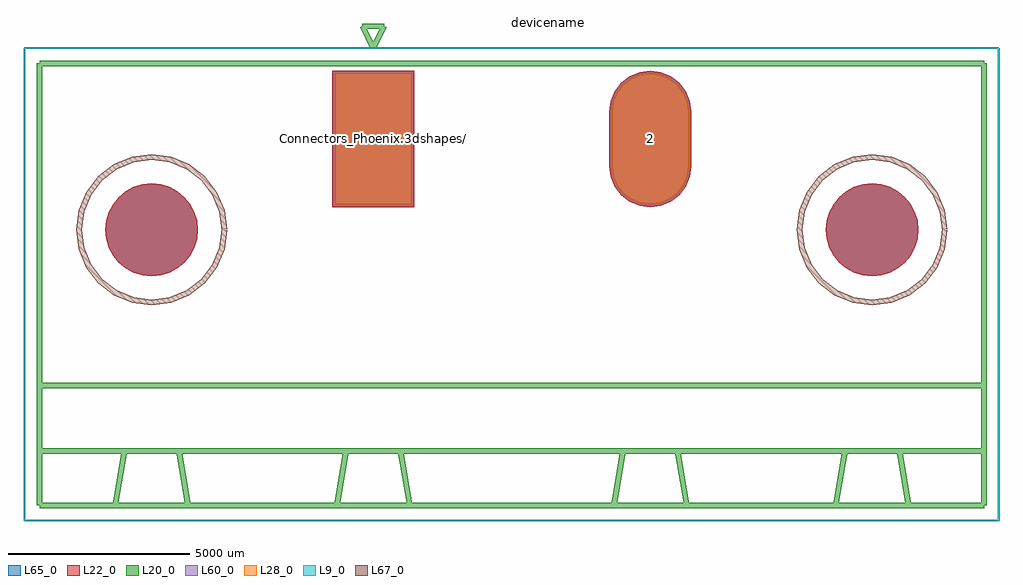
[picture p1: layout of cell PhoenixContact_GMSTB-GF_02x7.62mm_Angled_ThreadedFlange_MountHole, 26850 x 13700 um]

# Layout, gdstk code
import gdstk
lib = gdstk.Library(unit=1e-6, precision=1e-09)
def R(c, l, rs):  # rectangles x0, y0, x1, y1
    for r in rs: c.add(gdstk.rectangle(r[:2], r[2:], *l))
def P(c, l, *ps):  # polygons
    for p in ps: c.add(gdstk.Polygon(p, *l))
L9_0 = (9, 0)
L20_0 = (20, 0)
L22_0 = (22, 0)
L28_0 = (28, 0)
L60_0 = (60, 0)
L65_0 = (65, 0)
L67_0 = (67, 0)

phoenixcontact_gmstb_gf_ = lib.new_cell('PhoenixContact_GMSTB-GF_02x7.62mm_Angled_ThreadedFlange_MountHole')
R(phoenixcontact_gmstb_gf_, L22_0, [(-1125,-1875,1125,1875)])
P(phoenixcontact_gmstb_gf_, L22_0, [(14995,-2500),(14970.501,-2251.26),(14897.946,-2012.079),(14780.124,-1791.648),(14621.561,-1598.439),(14428.352,-1439.876),(14207.921,-1322.054),(13968.74,-1249.499),(13720,-1225),(13471.26,-1249.499),(13232.079,-1322.054),(13011.648,-1439.876),(12818.439,-1598.439),(12659.876,-1791.648),(12542.054,-2012.079),(12469.499,-2251.26),(12445,-2500),(12469.499,-2748.74),(12542.054,-2987.921),(12659.876,-3208.352),(12818.439,-3401.561),(13011.648,-3560.124),(13232.079,-3677.946),(13471.26,-3750.501),(13720,-3775),(13968.74,-3750.501),(14207.921,-3677.946),(14428.352,-3560.124),(14621.561,-3401.561),(14780.124,-3208.352),(14897.946,-2987.921),(14970.501,-2748.74)],
  [(-4825,-2500),(-4849.499,-2251.26),(-4922.054,-2012.079),(-5039.876,-1791.648),(-5198.439,-1598.439),(-5391.648,-1439.876),(-5612.079,-1322.054),(-5851.26,-1249.499),(-6100,-1225),(-6348.74,-1249.499),(-6587.921,-1322.054),(-6808.352,-1439.876),(-7001.561,-1598.439),(-7160.124,-1791.648),(-7277.946,-2012.079),(-7350.501,-2251.26),(-7375,-2500),(-7350.501,-2748.74),(-7277.946,-2987.921),(-7160.124,-3208.352),(-7001.561,-3401.561),(-6808.352,-3560.124),(-6587.921,-3677.946),(-6348.74,-3750.501),(-6100,-3775),(-5851.26,-3750.501),(-5612.079,-3677.946),(-5391.648,-3560.124),(-5198.439,-3401.561),(-5039.876,-3208.352),(-4922.054,-2987.921),(-4849.499,-2748.74)],
  [(7620,-1875),(7911.171,-1836.667),(8182.5,-1724.279),(8415.495,-1545.495),(8594.279,-1312.5),(8706.667,-1041.171),(8745,-750),(8745,750),(8706.667,1041.171),(8594.279,1312.5),(8415.495,1545.495),(8182.5,1724.279),(7911.171,1836.667),(7620,1875),(7328.829,1836.667),(7057.5,1724.279),(6824.505,1545.495),(6645.721,1312.5),(6533.333,1041.171),(6495,750),(6495,-750),(6533.333,-1041.171),(6645.721,-1312.5),(6824.505,-1545.495),(7057.5,-1724.279),(7328.829,-1836.667)])
R(phoenixcontact_gmstb_gf_, L28_0, [(-1050,-1800,1050,1800)])
P(phoenixcontact_gmstb_gf_, L28_0, [(7620,-1800),(7891.76,-1764.222),(8145,-1659.327),(8362.462,-1492.462),(8529.327,-1275),(8634.222,-1021.76),(8670,-750),(8670,750),(8634.222,1021.76),(8529.327,1275),(8362.462,1492.462),(8145,1659.327),(7891.76,1764.222),(7620,1800),(7348.24,1764.222),(7095,1659.327),(6877.538,1492.462),(6710.673,1275),(6605.778,1021.76),(6570,750),(6570,-750),(6605.778,-1021.76),(6710.673,-1275),(6877.538,-1492.462),(7095,-1659.327),(7348.24,-1764.222)])
R(phoenixcontact_gmstb_gf_, L60_0, [(-1050,-1800,1050,1800)])
P(phoenixcontact_gmstb_gf_, L60_0, [(7620,-1800),(7891.76,-1764.222),(8145,-1659.327),(8362.462,-1492.462),(8529.327,-1275),(8634.222,-1021.76),(8670,-750),(8670,750),(8634.222,1021.76),(8529.327,1275),(8362.462,1492.462),(8145,1659.327),(7891.76,1764.222),(7620,1800),(7348.24,1764.222),(7095,1659.327),(6877.538,1492.462),(6710.673,1275),(6605.778,1021.76),(6570,750),(6570,-750),(6605.778,-1021.76),(6710.673,-1275),(6877.538,-1492.462),(7095,-1659.327),(7348.24,-1764.222)])
R(phoenixcontact_gmstb_gf_, L65_0, [(-1125,-1875,1125,1875)])
P(phoenixcontact_gmstb_gf_, L65_0, [(14995,-2500),(14970.501,-2251.26),(14897.946,-2012.079),(14780.124,-1791.648),(14621.561,-1598.439),(14428.352,-1439.876),(14207.921,-1322.054),(13968.74,-1249.499),(13720,-1225),(13471.26,-1249.499),(13232.079,-1322.054),(13011.648,-1439.876),(12818.439,-1598.439),(12659.876,-1791.648),(12542.054,-2012.079),(12469.499,-2251.26),(12445,-2500),(12469.499,-2748.74),(12542.054,-2987.921),(12659.876,-3208.352),(12818.439,-3401.561),(13011.648,-3560.124),(13232.079,-3677.946),(13471.26,-3750.501),(13720,-3775),(13968.74,-3750.501),(14207.921,-3677.946),(14428.352,-3560.124),(14621.561,-3401.561),(14780.124,-3208.352),(14897.946,-2987.921),(14970.501,-2748.74)],
  [(-4825,-2500),(-4849.499,-2251.26),(-4922.054,-2012.079),(-5039.876,-1791.648),(-5198.439,-1598.439),(-5391.648,-1439.876),(-5612.079,-1322.054),(-5851.26,-1249.499),(-6100,-1225),(-6348.74,-1249.499),(-6587.921,-1322.054),(-6808.352,-1439.876),(-7001.561,-1598.439),(-7160.124,-1791.648),(-7277.946,-2012.079),(-7350.501,-2251.26),(-7375,-2500),(-7350.501,-2748.74),(-7277.946,-2987.921),(-7160.124,-3208.352),(-7001.561,-3401.561),(-6808.352,-3560.124),(-6587.921,-3677.946),(-6348.74,-3750.501),(-6100,-3775),(-5851.26,-3750.501),(-5612.079,-3677.946),(-5391.648,-3560.124),(-5198.439,-3401.561),(-5039.876,-3208.352),(-4922.054,-2987.921),(-4849.499,-2748.74)],
  [(7620,-1875),(7911.171,-1836.667),(8182.5,-1724.279),(8415.495,-1545.495),(8594.279,-1312.5),(8706.667,-1041.171),(8745,-750),(8745,750),(8706.667,1041.171),(8594.279,1312.5),(8415.495,1545.495),(8182.5,1724.279),(7911.171,1836.667),(7620,1875),(7328.829,1836.667),(7057.5,1724.279),(6824.505,1545.495),(6645.721,1312.5),(6533.333,1041.171),(6495,750),(6495,-750),(6533.333,-1041.171),(6645.721,-1312.5),(6824.505,-1545.495),(7057.5,-1724.279),(7328.829,-1836.667)])
phoenixcontact_gmstb_gf_.add(gdstk.FlexPath([(-300,3100),(0,2500)], 149.998, ends="flush", simple_path=True, layer=20, datatype=0))  # L20_0
phoenixcontact_gmstb_gf_.add(gdstk.FlexPath([(300,3100),(-300,3100)], 149.998, ends="flush", simple_path=True, layer=20, datatype=0))  # L20_0
phoenixcontact_gmstb_gf_.add(gdstk.FlexPath([(0,2500),(300,3100)], 149.998, ends="flush", simple_path=True, layer=20, datatype=0))  # L20_0
phoenixcontact_gmstb_gf_.add(gdstk.FlexPath([(17200,2500),(-9600,2500)], 50, ends="flush", simple_path=True, layer=9, datatype=0))  # L9_0
phoenixcontact_gmstb_gf_.add(gdstk.FlexPath([(17200,-10500),(17200,2500)], 50, ends="flush", simple_path=True, layer=9, datatype=0))  # L9_0
phoenixcontact_gmstb_gf_.add(gdstk.FlexPath([(-9600,-10500),(17200,-10500)], 50, ends="flush", simple_path=True, layer=9, datatype=0))  # L9_0
phoenixcontact_gmstb_gf_.add(gdstk.FlexPath([(-9600,2500),(-9600,-10500)], 50, ends="flush", simple_path=True, layer=9, datatype=0))  # L9_0
phoenixcontact_gmstb_gf_.add(gdstk.FlexPath([(6870,-8580),(6620,-10080)], 149.998, ends="flush", simple_path=True, layer=20, datatype=0))  # L20_0
phoenixcontact_gmstb_gf_.add(gdstk.FlexPath([(8370,-8580),(6870,-8580)], 149.998, ends="flush", simple_path=True, layer=20, datatype=0))  # L20_0
phoenixcontact_gmstb_gf_.add(gdstk.FlexPath([(8620,-10080),(8370,-8580)], 149.998, ends="flush", simple_path=True, layer=20, datatype=0))  # L20_0
phoenixcontact_gmstb_gf_.add(gdstk.FlexPath([(6620,-10080),(8620,-10080)], 149.998, ends="flush", simple_path=True, layer=20, datatype=0))  # L20_0
phoenixcontact_gmstb_gf_.add(gdstk.FlexPath([(-750,-8580),(-1000,-10080)], 149.998, ends="flush", simple_path=True, layer=20, datatype=0))  # L20_0
phoenixcontact_gmstb_gf_.add(gdstk.FlexPath([(750,-8580),(-750,-8580)], 149.998, ends="flush", simple_path=True, layer=20, datatype=0))  # L20_0
phoenixcontact_gmstb_gf_.add(gdstk.FlexPath([(1000,-10080),(750,-8580)], 149.998, ends="flush", simple_path=True, layer=20, datatype=0))  # L20_0
phoenixcontact_gmstb_gf_.add(gdstk.FlexPath([(-1000,-10080),(1000,-10080)], 149.998, ends="flush", simple_path=True, layer=20, datatype=0))  # L20_0
phoenixcontact_gmstb_gf_.add(gdstk.FlexPath([(12970,-8580),(12720,-10080)], 149.998, ends="flush", simple_path=True, layer=20, datatype=0))  # L20_0
phoenixcontact_gmstb_gf_.add(gdstk.FlexPath([(14470,-8580),(12970,-8580)], 149.998, ends="flush", simple_path=True, layer=20, datatype=0))  # L20_0
phoenixcontact_gmstb_gf_.add(gdstk.FlexPath([(14720,-10080),(14470,-8580)], 149.998, ends="flush", simple_path=True, layer=20, datatype=0))  # L20_0
phoenixcontact_gmstb_gf_.add(gdstk.FlexPath([(12720,-10080),(14720,-10080)], 149.998, ends="flush", simple_path=True, layer=20, datatype=0))  # L20_0
phoenixcontact_gmstb_gf_.add(gdstk.FlexPath([(-6850,-8580),(-7100,-10080)], 149.998, ends="flush", simple_path=True, layer=20, datatype=0))  # L20_0
phoenixcontact_gmstb_gf_.add(gdstk.FlexPath([(-5350,-8580),(-6850,-8580)], 149.998, ends="flush", simple_path=True, layer=20, datatype=0))  # L20_0
phoenixcontact_gmstb_gf_.add(gdstk.FlexPath([(-5100,-10080),(-5350,-8580)], 149.998, ends="flush", simple_path=True, layer=20, datatype=0))  # L20_0
phoenixcontact_gmstb_gf_.add(gdstk.FlexPath([(-7100,-10080),(-5100,-10080)], 149.998, ends="flush", simple_path=True, layer=20, datatype=0))  # L20_0
phoenixcontact_gmstb_gf_.add(gdstk.FlexPath([(16800,-8580),(-9180,-8580)], 149.998, ends="flush", simple_path=True, layer=20, datatype=0))  # L20_0
phoenixcontact_gmstb_gf_.add(gdstk.FlexPath([(16800,-6780),(16800,-8580)], 149.998, ends="flush", simple_path=True, layer=20, datatype=0))  # L20_0
phoenixcontact_gmstb_gf_.add(gdstk.FlexPath([(-9180,-6780),(16800,-6780)], 149.998, ends="flush", simple_path=True, layer=20, datatype=0))  # L20_0
phoenixcontact_gmstb_gf_.add(gdstk.FlexPath([(-9180,-8580),(-9180,-6780)], 149.998, ends="flush", simple_path=True, layer=20, datatype=0))  # L20_0
phoenixcontact_gmstb_gf_.add(gdstk.FlexPath([(16800,2080),(-9180,2080)], 149.998, ends="flush", simple_path=True, layer=20, datatype=0))  # L20_0
phoenixcontact_gmstb_gf_.add(gdstk.FlexPath([(16800,-10080),(16800,2080)], 149.998, ends="flush", simple_path=True, layer=20, datatype=0))  # L20_0
phoenixcontact_gmstb_gf_.add(gdstk.FlexPath([(-9180,-10080),(16800,-10080)], 149.998, ends="flush", simple_path=True, layer=20, datatype=0))  # L20_0
phoenixcontact_gmstb_gf_.add(gdstk.FlexPath([(-9180,2080),(-9180,-10080)], 149.998, ends="flush", simple_path=True, layer=20, datatype=0))  # L20_0
phoenixcontact_gmstb_gf_.add(gdstk.FlexPath([(15720,-2500),(15651.852,-1982.362),(15452.051,-1500),(15134.214,-1085.786),(14720,-767.949),(14237.638,-568.148),(13720,-500),(13202.362,-568.148),(12720,-767.949),(12305.786,-1085.786),(11987.949,-1500),(11788.148,-1982.362),(11720,-2500),(11788.148,-3017.638),(11987.949,-3500),(12305.786,-3914.214),(12720,-4232.051),(13202.362,-4431.852),(13720,-4500),(14237.638,-4431.852),(14720,-4232.051),(15134.214,-3914.214),(15452.051,-3500),(15651.852,-3017.638),(15720,-2500)], 149.998, ends="flush", simple_path=True, layer=67, datatype=0))  # L67_0
phoenixcontact_gmstb_gf_.add(gdstk.FlexPath([(-4100,-2500),(-4168.148,-1982.362),(-4367.949,-1500),(-4685.786,-1085.786),(-5100,-767.949),(-5582.362,-568.148),(-6100,-500),(-6617.638,-568.148),(-7100,-767.949),(-7514.214,-1085.786),(-7832.051,-1500),(-8031.852,-1982.362),(-8100,-2500),(-8031.852,-3017.638),(-7832.051,-3500),(-7514.214,-3914.214),(-7100,-4232.051),(-6617.638,-4431.852),(-6100,-4500),(-5582.362,-4431.852),(-5100,-4232.051),(-4685.786,-3914.214),(-4367.949,-3500),(-4168.148,-3017.638),(-4100,-2500)], 149.998, ends="flush", simple_path=True, layer=67, datatype=0))  # L67_0
phoenixcontact_gmstb_gf_.add(gdstk.Label('Connectors_Phoenix.3dshapes/PhoenixContact_GMSTB-GF_02x7.62mm_Angled_ThreadedFlange_MountHole.wrl', (0,0), layer=12, texttype=0))
phoenixcontact_gmstb_gf_.add(gdstk.Label('2', (7620,0), layer=28, texttype=0))
phoenixcontact_gmstb_gf_.add(gdstk.Label('1', (0,0), layer=28, texttype=0))
phoenixcontact_gmstb_gf_.add(gdstk.Label('type', (3810,-11500), layer=9, texttype=0))
phoenixcontact_gmstb_gf_.add(gdstk.Label('devicename', (4810,3200), layer=9, texttype=0))

lib.write_gds('PhoenixContact_GMSTB-GF_02x7.62mm_Angled_ThreadedFlange_MountHole.gds')
